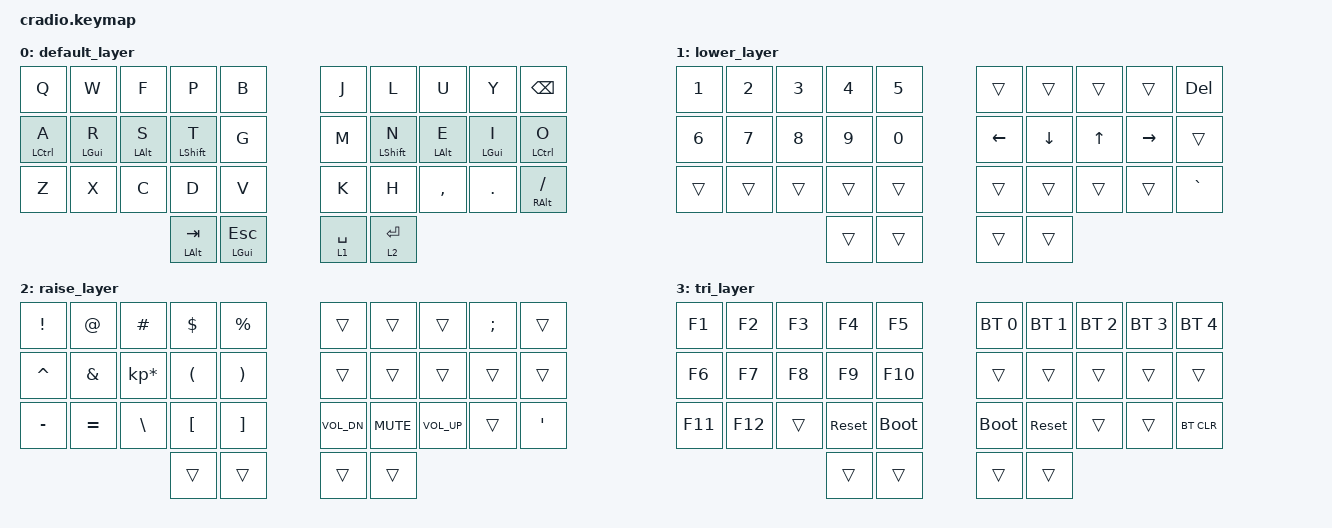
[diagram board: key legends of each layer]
/*
 * Copyright (c) 2020 The ZMK Contributors
 *
 * SPDX-License-Identifier: MIT
 */

#include <behaviors.dtsi>
#include <dt-bindings/zmk/keys.h>
#include <dt-bindings/zmk/bt.h>

#define ___ &trans


/ {
	conditional_layers {
		compatible = "zmk,conditional-layers";
		tri_layer {
			if-layers = <1 2>;
			then-layer = <3>;
		};
	};

    behaviors {
        hm: homerow_mods {
            compatible = "zmk,behavior-hold-tap";
            label = "HOMEROW_MODS";
            #binding-cells = <2>;
            tapping-term-ms = <200>;
            quick-tap-ms = <250>;
            flavor = "tap-preferred";
            bindings = <&kp>, <&kp>;
        };
    };

	keymap {
    	compatible = "zmk,keymap";

		default_layer {
        	bindings = <
     // ╭─────────────┬─────────────┬─────────────┬─────────────┬─────────────╮   ╭─────────────┬─────────────┬─────────────┬─────────────┬─────────────╮
              &kp Q         &kp W         &kp F         &kp P         &kp B             &kp J         &kp L         &kp U         &kp Y       &kp BSPC  
     // ├─────────────┼─────────────┼─────────────┼─────────────┼─────────────┤   ├─────────────┼─────────────┼─────────────┼─────────────┼─────────────┤
          &hm LCTRL A    &hm LGUI R    &hm LALT S   &hm LSHIFT T      &kp G             &kp M     &hm LSHIFT N   &hm LALT E    &hm LGUI I   &hm LCTRL O
     // ├─────────────┼─────────────┼─────────────┼─────────────┼─────────────┤   ├─────────────┼─────────────┼─────────────┼─────────────┼─────────────┤
              &kp Z         &kp X         &kp C         &kp D         &kp V             &kp K         &kp H       &kp COMMA      &kp DOT   &hm RALT FSLH
     // ╰─────────────┴─────────────┼─────────────┼─────────────┼─────────────┤   ├─────────────┼─────────────┼─────────────┼─────────────┴─────────────╯
                                                    &mt LALT TAB  &mt LGUI ESC      &lt 1 SPACE    &lt 2 RET
     //                                           ╰─────────────┴─────────────╯   ╰─────────────┴─────────────╯
			>;
		};

		lower_layer {
			bindings = <
     // ╭─────────────┬─────────────┬─────────────┬─────────────┬─────────────╮   ╭─────────────┬─────────────┬─────────────┬─────────────┬─────────────╮
             &kp N1        &kp N2        &kp N3        &kp N4        &kp N5             ___           ___           ___           ___          &kp DEL
     // ├─────────────┼─────────────┼─────────────┼─────────────┼─────────────┤   ├─────────────┼─────────────┼─────────────┼─────────────┼─────────────┤
             &kp N6        &kp N7        &kp N8        &kp N9        &kp N0           &kp LEFT      &kp DOWN       &kp UP       &kp RIGHT       ___   
     // ├─────────────┼─────────────┼─────────────┼─────────────┼─────────────┤   ├─────────────┼─────────────┼─────────────┼─────────────┼─────────────┤
              ___           ___           ___           ___           ___               ___           ___           ___           ___         &kp GRAVE
     // ╰─────────────┴─────────────┼─────────────┼─────────────┼─────────────┤   ├─────────────┼─────────────┼─────────────┼─────────────┴─────────────╯
                                                        ___           ___               ___           ___
     //                                           ╰─────────────┴─────────────╯   ╰─────────────┴─────────────╯
			>;
		};
 
		raise_layer {
			bindings = <
     // ╭─────────────┬─────────────┬─────────────┬─────────────┬─────────────╮   ╭─────────────┬─────────────┬─────────────┬─────────────┬─────────────╮
            &kp EXCL       &kp AT       &kp HASH      &kp DLLR      &kp PRCNT           ___           ___           ___         &kp SEMI        ___
     // ├─────────────┼─────────────┼─────────────┼─────────────┼─────────────┤   ├─────────────┼─────────────┼─────────────┼─────────────┼─────────────┤
            &kp CARET     &kp AMPS   &kp KP_MULTIPLY  &kp LPAR      &kp RPAR            ___           ___           ___           ___           ___
     // ├─────────────┼─────────────┼─────────────┼─────────────┼─────────────┤   ├─────────────┼─────────────┼─────────────┼─────────────┼─────────────┤
            &kp MINUS     &kp EQUAL     &kp BSLH      &kp LBKT      &kp RBKT       &kp C_VOL_DN   &kp C_MUTE   &kp C_VOL_UP       ___         &kp SQT
     // ╰─────────────┴─────────────┼─────────────┼─────────────┼─────────────┤   ├─────────────┼─────────────┼─────────────┼─────────────┴─────────────╯
                                                        ___           ___               ___           ___
     //                                           ╰─────────────┴─────────────╯   ╰─────────────┴─────────────╯
			>;
		};

		tri_layer {
			bindings = <
     // ╭─────────────┬─────────────┬─────────────┬─────────────┬─────────────╮   ╭─────────────┬─────────────┬─────────────┬─────────────┬─────────────╮
             &kp F1        &kp F2        &kp F3        &kp F4        &kp F5         &bt BT_SEL 0  &bt BT_SEL 1  &bt BT_SEL 2  &bt BT_SEL 3  &bt BT_SEL 4
     // ├─────────────┼─────────────┼─────────────┼─────────────┼─────────────┤   ├─────────────┼─────────────┼─────────────┼─────────────┼─────────────┤
             &kp F6        &kp F7        &kp F8        &kp F9       &kp F10             ___           ___           ___           ___           ___
     // ├─────────────┼─────────────┼─────────────┼─────────────┼─────────────┤   ├─────────────┼─────────────┼─────────────┼─────────────┼─────────────┤
            &kp F11       &kp F12         ___       &sys_reset    &bootloader       &bootloader    &sys_reset       ___           ___        &bt BT_CLR
     // ╰─────────────┴─────────────┼─────────────┼─────────────┼─────────────┤   ├─────────────┼─────────────┼─────────────┼─────────────┴─────────────╯
                                                        ___           ___               ___           ___
     //                                           ╰─────────────┴─────────────╯   ╰─────────────┴─────────────╯
			>;
		};

	};
};
